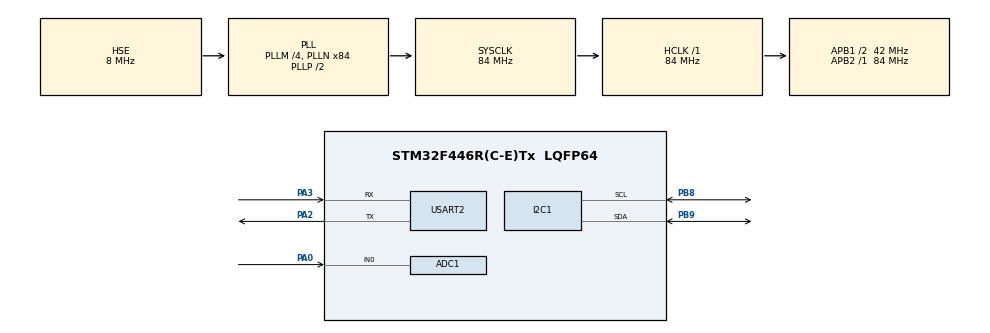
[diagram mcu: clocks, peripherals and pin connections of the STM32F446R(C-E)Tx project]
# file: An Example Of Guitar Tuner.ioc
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ADC1.Channel-0\#ChannelRegularConversion=ADC_CHANNEL_0
ADC1.ExternalTrigConv=ADC_EXTERNALTRIGCONV_T2_TRGO
ADC1.NbrOfConversionFlag=1
ADC1.Rank-0\#ChannelRegularConversion=1
ADC1.SamplingTime-0\#ChannelRegularConversion=ADC_SAMPLETIME_3CYCLES
ADC1.master=1
Mcu.Family=STM32F4
Mcu.Name=STM32F446R(C-E)Tx
Mcu.Package=LQFP64
NVIC.PriorityGroup=NVIC_PRIORITYGROUP_4
PA0-WKUP.Signal=ADCx_IN0
PA2.Mode=Asynchronous
PA2.Signal=USART2_TX
PA3.Mode=Asynchronous
PA3.Signal=USART2_RX
PB8.Mode=I2C
PB8.Signal=I2C1_SCL
PB9.Mode=I2C
PB9.Signal=I2C1_SDA
PH0-OSC_IN.Mode=HSE-External-Clock-Source
PH0-OSC_IN.Signal=RCC_OSC_IN
PH1-OSC_OUT.Mode=HSE-External-Clock-Source
PH1-OSC_OUT.Signal=RCC_OSC_OUT
ProjectManager.HeapSize=0x200
ProjectManager.StackSize=0x400
ProjectManager.TargetToolchain=STM32CubeIDE
RCC.AHBFreq_Value=84000000
RCC.APB1CLKDivider=RCC_HCLK_DIV2
RCC.APB1Freq_Value=42000000
RCC.APB1TimFreq_Value=84000000
RCC.APB2Freq_Value=84000000
RCC.APB2TimFreq_Value=84000000
RCC.CortexFreq_Value=84000000
RCC.HCLKFreq_Value=84000000
RCC.HSE_VALUE=8000000
RCC.PLLM=4
RCC.PLLN=84
RCC.PLLSourceVirtual=RCC_PLLSOURCE_HSE
RCC.SYSCLKFreq_VALUE=84000000
RCC.SYSCLKSource=RCC_SYSCLKSOURCE_PLLCLK
RCC.USBFreq_Value=84000000
RCC.VCOOutputFreq_Value=168000000
SH.ADCx_IN0.0=ADC1_IN0,IN0
TIM2.Period=1049
TIM2.Prescaler=9
TIM2.TIM_MasterOutputTrigger=TIM_TRGO_UPDATE
USART2.VirtualMode=VM_ASYNC
VP_TIM2_VS_ClockSourceINT.Mode=Internal
board=custom

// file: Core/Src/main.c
/* USER CODE BEGIN Header */
/**
  ******************************************************************************
  * @file           : main.c
  * @brief          : Main program body
  ******************************************************************************
  * @attention
  *
  * Copyright (c) 2026 STMicroelectronics.
  * All rights reserved.
  *
  * This software is licensed under terms that can be found in the LICENSE file
  * in the root directory of this software component.
  * If no LICENSE file comes with this software, it is provided AS-IS.
  *
  ******************************************************************************
  */
/* USER CODE END Header */
#include "main.h"

/* USER CODE BEGIN Includes */
#include "ssd1306.h"
#include "ssd1306_fonts.h"
#include <stdio.h>
#include <math.h>
#include <string.h>

/* USER CODE END Includes */

/* USER CODE BEGIN PD */
#define NUM_SAMPLES 500
#define FS            8000.0f
#define FMIN          70.0f
#define FMAX          400.0f
#define TAUMIN        ((int)(FS / FMAX))     // 20
#define TAUMAX        ((int)(FS / FMIN))     // 114
#define SEUIL_YIN     0.15f
#define SEUIL_SILENCE 20.0f                  // provisoire, à mesurer
/* USER CODE END PD */

ADC_HandleTypeDef hadc1;

I2C_HandleTypeDef hi2c1;

TIM_HandleTypeDef htim2;

UART_HandleTypeDef huart2;

/* USER CODE BEGIN PV */
volatile uint32_t adc_value = 0;
static float d[TAUMAX + 1];
static float dn[TAUMAX + 1];

uint16_t samples[NUM_SAMPLES];
float samples_centered[NUM_SAMPLES];

char uart_buffer[64];
static const char  *NOMS[6]  = { "E2", "A2", "D3", "G3", "B3", "E4" };
static const float  FREQS[6] = { 82.41f, 110.00f, 146.83f,
                                 196.00f, 246.94f, 329.63f };
/* USER CODE END PV */

void SystemClock_Config(void);
static void MX_GPIO_Init(void);
static void MX_ADC1_Init(void);
static void MX_I2C1_Init(void);
static void MX_USART2_UART_Init(void);
static void MX_TIM2_Init(void);
/* USER CODE BEGIN PFP */
static float centrer(const uint16_t *in, float *out, int n);   // renvoie le RMS
static float yin(const float *x, int n);                        // renvoie f en Hz, ou -1.0f
static int identifier(float f, float *cents);                 // renvoie l'indice de la corde (0..5)
static void uart_print(const char *s);

/* USER CODE END PFP */

int main(void)
{

  /* MCU Configuration--------------------------------------------------------*/

  /* Reset of all peripherals, Initializes the Flash interface and the Systick. */
  HAL_Init();

  /* USER CODE BEGIN Init */
  char my_string [15] = "Hello LaTeam";
     char my_string2 [8] = "Je cree";
     char my_string3 [18] = "un accordeur";
     char my_string4 [13] = "pour guitare";

     char ret_1, ret_2, ret_3, ret_4;
  /* USER CODE END Init */

  /* Configure the system clock */
  SystemClock_Config();

  /* Initialize all configured peripherals */
  MX_GPIO_Init();
  MX_ADC1_Init();
  MX_I2C1_Init();
  MX_USART2_UART_Init();
  MX_TIM2_Init();
  /* USER CODE BEGIN 2 */
  ssd1306_Init();
  //  ssd1306_Fill(White);
  //  ssd1306_UpdateScreen();
  ssd1306_SetCursor(5, 5);

  ret_1 = ssd1306_WriteString(my_string, Font_7x10, White);

  ssd1306_SetCursor(5, 20);

  ret_2 = ssd1306_WriteString(my_string2, Font_7x10, White);

  ssd1306_SetCursor(5, 30);

  ret_3 = ssd1306_WriteString(my_string3, Font_7x10, White);

  ssd1306_SetCursor(5, 40);

  ret_4 = ssd1306_WriteString(my_string4, Font_7x10, White);

  ssd1306_UpdateScreen();

//  // Arme/démarre l'ADC.
//  // La conversion ne démarre plus immédiatement par logiciel :
//  // l'ADC attend désormais les triggers envoyés par TIM2.
//  HAL_ADC_Start(&hadc1);
//
//  // Démarre TIM2.
//  // TIM2 génère un TRGO toutes les 125 us, soit 8000 fois par seconde.
//  HAL_TIM_Base_Start(&htim2);

  /* USER CODE END 2 */

  /* Infinite loop */
  while (1)
  {

    /* USER CODE BEGIN 3 */

	    // ============================================================
	    // 1. Prépare l'ADC à recevoir les triggers de TIM2
	    // ============================================================

	    HAL_ADC_Start(&hadc1);

	    // ============================================================
	    // 2. Démarre TIM2
	    //    Il génère maintenant un TRGO toutes les 125 us
	    // ============================================================

	    HAL_TIM_Base_Start(&htim2);
      // ============================================================
      // ACQUISITION DE 500 ECHANTILLONS CADENCES PAR TIM2 A 8 kHz
      // ============================================================

      for (int i = 0; i < NUM_SAMPLES; i++)
      {
          // Attend que l'ADC ait terminé une conversion.
          //
          // Contrairement à avant, nous ne faisons PLUS :
          //
          // HAL_ADC_Start(&hadc1);
          //
          // à chaque tour.
          //
          // C'est TIM2 qui déclenche automatiquement une nouvelle
          // conversion ADC toutes les 125 us.
          HAL_ADC_PollForConversion(&hadc1, HAL_MAX_DELAY);

          // Récupère le résultat de la conversion ADC 12 bits
          // et le range dans notre buffer.
          samples[i] = HAL_ADC_GetValue(&hadc1);
      }

      // ============================================================
      // LE BUFFER EST MAINTENANT COMPLET
      // ============================================================
      //
      // samples[0] = mesure à t ~= 0
      // samples[1] = mesure à t ~= 125 us
      // samples[2] = mesure à t ~= 250 us
      // ...
      //
      // Les échantillons sont donc espacés de 125 us grâce à TIM2.
      // ============================================================
	  // 4. Arrête TIM2
	  //    Plus aucun trigger n'est envoyé à l'ADC pendant l'UART
	  // ============================================================

	  HAL_TIM_Base_Stop(&htim2);

	  // Arrête également l'ADC pour repartir proprement
	  HAL_ADC_Stop(&hadc1);

      // ============================================================
      // ENVOI DES 500 ECHANTILLONS AU MAC PAR UART
      // ============================================================
	  // --- 2. CENTRAGE + SILENCE ---
	  float rms = centrer(samples, samples_centered, NUM_SAMPLES);
	  snprintf(uart_buffer, sizeof(uart_buffer), "rms=%d\r\n", (int)rms);
	  uart_print(uart_buffer);

	  if (rms < SEUIL_SILENCE) {
		  uart_print("silence\r\n");
		  continue;// pas de YIN sur du bruit
	  }

	  // --- 3. YIN ---
	  float f = yin(samples_centered, NUM_SAMPLES);
	  if (f < 0) {
		  uart_print("pas de note\r\n");
	  	  continue;
	  }
	  float cents = 0.0f;
	  // --- 4. IDENTIFICATION ---
	  int corde = identifier(f, &cents);

	  // --- 5. AFFICHAGE UART ---
	  snprintf(uart_buffer, sizeof(uart_buffer),
	           "%s  %d.%02d Hz  %+d cents\r\n",
	           NOMS[corde],                 // %s   -> "E2"
	           (int)f,                      // %d   -> 83
	           (int)(f * 100.0f) % 100,     // %02d -> 00
	           (int)lroundf(cents));        // %+d  -> +12
	  uart_print(uart_buffer);

	  HAL_Delay(100);

  }

  /* USER CODE END 3 */
}

void SystemClock_Config(void)
{
  RCC_OscInitTypeDef RCC_OscInitStruct = {0};
  RCC_ClkInitTypeDef RCC_ClkInitStruct = {0};

  /** Configure the main internal regulator output voltage
  */
  __HAL_RCC_PWR_CLK_ENABLE();
  __HAL_PWR_VOLTAGESCALING_CONFIG(PWR_REGULATOR_VOLTAGE_SCALE3);

  /** Initializes the RCC Oscillators according to the specified parameters
  * in the RCC_OscInitTypeDef structure.
  */
  RCC_OscInitStruct.OscillatorType = RCC_OSCILLATORTYPE_HSE;
  RCC_OscInitStruct.HSEState = RCC_HSE_BYPASS;
  RCC_OscInitStruct.PLL.PLLState = RCC_PLL_ON;
  RCC_OscInitStruct.PLL.PLLSource = RCC_PLLSOURCE_HSE;
  RCC_OscInitStruct.PLL.PLLM = 4;
  RCC_OscInitStruct.PLL.PLLN = 84;
  RCC_OscInitStruct.PLL.PLLP = RCC_PLLP_DIV2;
  RCC_OscInitStruct.PLL.PLLQ = 2;
  RCC_OscInitStruct.PLL.PLLR = 2;
  if (HAL_RCC_OscConfig(&RCC_OscInitStruct) != HAL_OK)
  {
    Error_Handler();
  }

  /** Initializes the CPU, AHB and APB buses clocks
  */
  RCC_ClkInitStruct.ClockType = RCC_CLOCKTYPE_HCLK|RCC_CLOCKTYPE_SYSCLK
                              |RCC_CLOCKTYPE_PCLK1|RCC_CLOCKTYPE_PCLK2;
  RCC_ClkInitStruct.SYSCLKSource = RCC_SYSCLKSOURCE_PLLCLK;
  RCC_ClkInitStruct.AHBCLKDivider = RCC_SYSCLK_DIV1;
  RCC_ClkInitStruct.APB1CLKDivider = RCC_HCLK_DIV2;
  RCC_ClkInitStruct.APB2CLKDivider = RCC_HCLK_DIV1;

  if (HAL_RCC_ClockConfig(&RCC_ClkInitStruct, FLASH_LATENCY_2) != HAL_OK)
  {
    Error_Handler();
  }
}

static void MX_ADC1_Init(void)
{

  ADC_ChannelConfTypeDef sConfig = {0};

  /** Configure the global features of the ADC (Clock, Resolution, Data Alignment and number of conversion)
  */
  hadc1.Instance = ADC1;
  hadc1.Init.ClockPrescaler = ADC_CLOCK_SYNC_PCLK_DIV4;
  hadc1.Init.Resolution = ADC_RESOLUTION_12B;
  hadc1.Init.ScanConvMode = DISABLE;
  hadc1.Init.ContinuousConvMode = DISABLE;
  hadc1.Init.DiscontinuousConvMode = DISABLE;
  hadc1.Init.ExternalTrigConvEdge = ADC_EXTERNALTRIGCONVEDGE_RISING;
  hadc1.Init.ExternalTrigConv = ADC_EXTERNALTRIGCONV_T2_TRGO;
  hadc1.Init.DataAlign = ADC_DATAALIGN_RIGHT;
  hadc1.Init.NbrOfConversion = 1;
  hadc1.Init.DMAContinuousRequests = DISABLE;
  hadc1.Init.EOCSelection = ADC_EOC_SINGLE_CONV;
  if (HAL_ADC_Init(&hadc1) != HAL_OK)
  {
    Error_Handler();
  }

  /** Configure for the selected ADC regular channel its corresponding rank in the sequencer and its sample time.
  */
  sConfig.Channel = ADC_CHANNEL_0;
  sConfig.Rank = 1;
  sConfig.SamplingTime = ADC_SAMPLETIME_3CYCLES;
  if (HAL_ADC_ConfigChannel(&hadc1, &sConfig) != HAL_OK)
  {
    Error_Handler();
  }

}

static void MX_I2C1_Init(void)
{

  hi2c1.Instance = I2C1;
  hi2c1.Init.ClockSpeed = 100000;
  hi2c1.Init.DutyCycle = I2C_DUTYCYCLE_2;
  hi2c1.Init.OwnAddress1 = 0;
  hi2c1.Init.AddressingMode = I2C_ADDRESSINGMODE_7BIT;
  hi2c1.Init.DualAddressMode = I2C_DUALADDRESS_DISABLE;
  hi2c1.Init.OwnAddress2 = 0;
  hi2c1.Init.GeneralCallMode = I2C_GENERALCALL_DISABLE;
  hi2c1.Init.NoStretchMode = I2C_NOSTRETCH_DISABLE;
  if (HAL_I2C_Init(&hi2c1) != HAL_OK)
  {
    Error_Handler();
  }

}

static void MX_TIM2_Init(void)
{

  TIM_ClockConfigTypeDef sClockSourceConfig = {0};
  TIM_MasterConfigTypeDef sMasterConfig = {0};

  htim2.Instance = TIM2;
  htim2.Init.Prescaler = 9;
  htim2.Init.CounterMode = TIM_COUNTERMODE_UP;
  htim2.Init.Period = 1049;
  htim2.Init.ClockDivision = TIM_CLOCKDIVISION_DIV1;
  htim2.Init.AutoReloadPreload = TIM_AUTORELOAD_PRELOAD_DISABLE;
  if (HAL_TIM_Base_Init(&htim2) != HAL_OK)
  {
    Error_Handler();
  }
  sClockSourceConfig.ClockSource = TIM_CLOCKSOURCE_INTERNAL;
  if (HAL_TIM_ConfigClockSource(&htim2, &sClockSourceConfig) != HAL_OK)
  {
    Error_Handler();
  }
  sMasterConfig.MasterOutputTrigger = TIM_TRGO_UPDATE;
  sMasterConfig.MasterSlaveMode = TIM_MASTERSLAVEMODE_DISABLE;
  if (HAL_TIMEx_MasterConfigSynchronization(&htim2, &sMasterConfig) != HAL_OK)
  {
    Error_Handler();
  }

}

static void MX_USART2_UART_Init(void)
{

  huart2.Instance = USART2;
  huart2.Init.BaudRate = 115200;
  huart2.Init.WordLength = UART_WORDLENGTH_8B;
  huart2.Init.StopBits = UART_STOPBITS_1;
  huart2.Init.Parity = UART_PARITY_NONE;
  huart2.Init.Mode = UART_MODE_TX_RX;
  huart2.Init.HwFlowCtl = UART_HWCONTROL_NONE;
  huart2.Init.OverSampling = UART_OVERSAMPLING_16;
  if (HAL_UART_Init(&huart2) != HAL_OK)
  {
    Error_Handler();
  }

}

static void MX_GPIO_Init(void)
{

  /* GPIO Ports Clock Enable */
  __HAL_RCC_GPIOH_CLK_ENABLE();
  __HAL_RCC_GPIOA_CLK_ENABLE();
  __HAL_RCC_GPIOB_CLK_ENABLE();

}

/* USER CODE BEGIN 4 */
// returns the RMS
static float centrer(const uint16_t *in, float *out, int n) {
	uint32_t sum = 0;
	for (int i = 0; i< n; ++i){
		sum+= in[i];
	}
	float mean = (float)sum / (float)n;
	float squared_sum = 0.0f;
	for (int i = 0; i< n; ++i){
		float elem = (float) in[i];
		float centered_elem = elem - mean;
		out[i] = centered_elem;
	    squared_sum += out[i] * out[i];
	}

	return sqrtf(squared_sum / n);

}
// return f in Hz, or -1.0f if frequency has not been found
static float yin(const float *x, int n){
	int W = n - TAUMAX;

	// Difference function d
	d[0] = 0.0f;
	for (int tau = 1; tau <= TAUMAX; ++tau) {
	    float s = 0.0f;                       // remis à zéro pour chaque tau
	    for (int j = 0; j < W; ++j) {
	        float e = x[j] - x[j + tau];
	        s += e * e;
	    }
	    d[tau] = s;                           // on écrase, on n'accumule plus
	}

	dn[0] = 1.0f;
	float cumul = 0.0f;
	for (int tau = 1; tau <= TAUMAX; ++tau) {
	    cumul += d[tau];
	    dn[tau] = (cumul > 0.0f) ? d[tau] * (float)tau / cumul : 1.0f;
	}

	int tauBest = -1;
	for (int tau = TAUMIN; tau < TAUMAX; ++tau) {
	    if (dn[tau] < SEUIL_YIN) {
	        while (tau + 1 < TAUMAX && dn[tau + 1] < dn[tau]) {
	            tau++;
	        }
	        tauBest = tau;
	        break;                            // on garde le PREMIER creux
	    }
	}

	if (tauBest == -1) {
		return -1.0f;
	}

	float a = dn[tauBest-1];
	float b = dn[tauBest];
	float c = dn[tauBest+1];
	float denom = 2.0f * (a - 2.0f * b + c);
	float delta = 0.0f;
	if (fabsf(denom) > 1e-9f) {
	    delta = (a - c) / denom;
	}
	float frequence = FS / ((float)tauBest + delta);

	return frequence;

}
// return the string index (0 = E2.. 5= E5)
static int identifier(float f, float *cents)
{
    int   best  = 0;
    float min_gap  = INFINITY;
    const float coeff = 1200.0f;
    const float log_freq = log2f(f);
    for (int i = 0; i < 6; i++)
    {
        float c = coeff * (log_freq - log2f(FREQS[i]));

        if (fabs(c) < fabs(min_gap))
        {
            min_gap = c;
            best = i;
        }
    }

    *cents = min_gap;
    return best;
}
static void uart_print(const char *s)
{
    HAL_UART_Transmit(&huart2, (uint8_t *)s, strlen(s), HAL_MAX_DELAY);
}
/* USER CODE END 4 */

void Error_Handler(void)
{
  __disable_irq();
  while (1)
  {
  }
}
